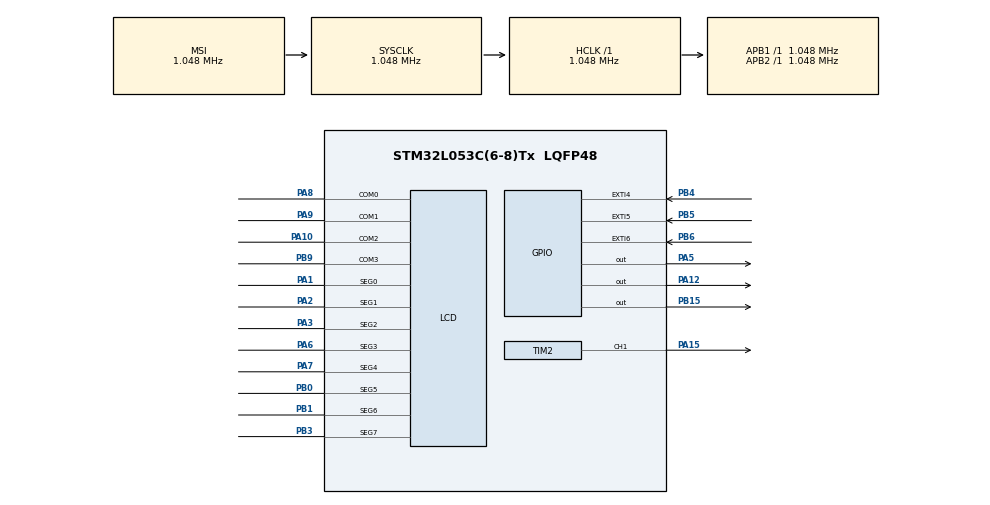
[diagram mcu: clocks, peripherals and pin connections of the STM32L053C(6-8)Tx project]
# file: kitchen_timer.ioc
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LCD.Contrast=LCD_CONTRASTLEVEL_7
LCD.DeadTime=LCD_DEADTIME_1
LCD.Divider=LCD_DIVIDER_16
LCD.HighDrive=LCD_HIGHDRIVE_1
LCD.Prescaler=LCD_PRESCALER_4
LCD.PulseOnDuration=LCD_PULSEONDURATION_1
LCD.VoltageSource=LCD_VOLTAGESOURCE_INTERNAL
Mcu.Family=STM32L0
Mcu.Name=STM32L053C(6-8)Tx
Mcu.Package=LQFP48
NVIC.EXTI4_15_IRQn=true\:0\:0\:false\:false\:true
NVIC.RTC_IRQn=true\:0\:0\:false\:false\:true
PA0.Mode=SYS_WakeUp0
PA0.Signal=SYS_WKUP1
PA1.Mode=SEG0
PA1.Signal=LCD_SEG0
PA10.Mode=1/4 Duty Cycle
PA10.Signal=LCD_COM2
PA12.Signal=GPIO_Output
PA13.Mode=Serial_Wire
PA13.Signal=SYS_SWDIO
PA14.Mode=Serial_Wire
PA14.Signal=SYS_SWCLK
PA15.Signal=S_TIM2_CH1
PA2.Mode=SEG1
PA2.Signal=LCD_SEG1
PA3.Mode=SEG2
PA3.Signal=LCD_SEG2
PA5.Signal=GPIO_Output
PA6.Mode=SEG3
PA6.Signal=LCD_SEG3
PA7.Mode=SEG4
PA7.Signal=LCD_SEG4
PA8.Mode=1/4 Duty Cycle
PA8.Signal=LCD_COM0
PA9.Mode=1/4 Duty Cycle
PA9.Signal=LCD_COM1
PB0.Mode=SEG5
PB0.Signal=LCD_SEG5
PB1.Mode=SEG6
PB1.Signal=LCD_SEG6
PB15.Signal=GPIO_Output
PB3.Mode=SEG7
PB3.Signal=LCD_SEG7
PB4.GPIO_PuPd=GPIO_PULLDOWN
PB4.Signal=GPXTI4
PB5.GPIO_PuPd=GPIO_PULLDOWN
PB5.Signal=GPXTI5
PB6.GPIO_PuPd=GPIO_PULLDOWN
PB6.Signal=GPXTI6
PB9.Mode=1/4 Duty Cycle
PB9.Signal=LCD_COM3
PC13.Mode=SYS_WakeUp1
PC13.Signal=SYS_WKUP2
PC14-OSC32_IN.Mode=LSE-External-Oscillator
PC14-OSC32_IN.Signal=RCC_OSC32_IN
PC15-OSC32_OUT.Mode=LSE-External-Oscillator
PC15-OSC32_OUT.Signal=RCC_OSC32_OUT
ProjectManager.HeapSize=0x200
ProjectManager.StackSize=0x400
ProjectManager.TargetToolchain=SW4STM32
RCC.AHBFreq_Value=1048000
RCC.APB1Freq_Value=1048000
RCC.APB1TimFreq_Value=1048000
RCC.APB2Freq_Value=1048000
RCC.APB2TimFreq_Value=1048000
RCC.EnableCSSLSE=true
RCC.HCLKFreq_Value=1048000
RCC.HSE_VALUE=8000000
RCC.HSI16_VALUE=16000000
RCC.HSI48_VALUE=48000000
RCC.HSI_VALUE=16000000
RCC.MSIClockRange=RCC_MSIRANGE_4
RCC.MSI_VALUE=1048000
RCC.RTCClockSelection=RCC_RTCCLKSOURCE_LSE
RCC.RTCClockSelectionVirtual=RCC_RTCCLKSOURCE_LSE
RCC.SYSCLKFreq_VALUE=1048000
RCC.VCOOutputFreq_Value=48000000
RCC.VDD_VALUE=3.3
RTC.AsynchPrediv=127
RTC.SynchPrediv=255
RTC.WakeUpClock-WakeUp=RTC_WAKEUPCLOCK_CK_SPRE_16BITS
SH.S_TIM2_CH1.0=TIM2_CH1,PWM Generation1 CH1
TIM2.Period=255
TIM2.Prescaler=1
TIM2.Pulse-PWM\ Generation1\ CH1=127
VP_RTC_VS_RTC_Activate.Mode=RTC_Enabled
VP_RTC_VS_RTC_Calendar.Mode=RTC_Calendar
VP_RTC_VS_RTC_WakeUp_intern.Mode=WakeUp
VP_TIM2_VS_ClockSourceINT.Mode=Internal
board=kitchen_timer

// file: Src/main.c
/**
  ******************************************************************************
  * File Name          : main.c
  * Description        : Main program body
  ******************************************************************************
  *
  * COPYRIGHT(c) 2017 STMicroelectronics
  *
  * Redistribution and use in source and binary forms, with or without modification,
  * are permitted provided that the following conditions are met:
  *   1. Redistributions of source code must retain the above copyright notice,
  *      this list of conditions and the following disclaimer.
  *   2. Redistributions in binary form must reproduce the above copyright notice,
  *      this list of conditions and the following disclaimer in the documentation
  *      and/or other materials provided with the distribution.
  *   3. Neither the name of STMicroelectronics nor the names of its contributors
  *      may be used to endorse or promote products derived from this software
  *      without specific prior written permission.
  *
  * THIS SOFTWARE IS PROVIDED BY THE COPYRIGHT HOLDERS AND CONTRIBUTORS "AS IS"
  * AND ANY EXPRESS OR IMPLIED WARRANTIES, INCLUDING, BUT NOT LIMITED TO, THE
  * IMPLIED WARRANTIES OF MERCHANTABILITY AND FITNESS FOR A PARTICULAR PURPOSE ARE
  * DISCLAIMED. IN NO EVENT SHALL THE COPYRIGHT HOLDER OR CONTRIBUTORS BE LIABLE
  * FOR ANY DIRECT, INDIRECT, INCIDENTAL, SPECIAL, EXEMPLARY, OR CONSEQUENTIAL
  * DAMAGES (INCLUDING, BUT NOT LIMITED TO, PROCUREMENT OF SUBSTITUTE GOODS OR
  * SERVICES; LOSS OF USE, DATA, OR PROFITS; OR BUSINESS INTERRUPTION) HOWEVER
  * CAUSED AND ON ANY THEORY OF LIABILITY, WHETHER IN CONTRACT, STRICT LIABILITY,
  * OR TORT (INCLUDING NEGLIGENCE OR OTHERWISE) ARISING IN ANY WAY OUT OF THE USE
  * OF THIS SOFTWARE, EVEN IF ADVISED OF THE POSSIBILITY OF SUCH DAMAGE.
  *
  ******************************************************************************
  */
#include "main.h"
#include "stm32l0xx_hal.h"
#include "lcd.h"
#include "rtc.h"
#include "tim.h"
#include "gpio.h"

/* USER CODE BEGIN Includes */

#include "lcd_dl1178.h"

/* USER CODE END Includes */

/* USER CODE BEGIN PV */
/* Private variables ---------------------------------------------------------*/

/* USER CODE END PV */

void SystemClock_Config(void);
void Error_Handler(void);

/* USER CODE BEGIN PFP */
/* Private function prototypes -----------------------------------------------*/

/* USER CODE END PFP */

/* USER CODE BEGIN 0 */

volatile uint8_t state = 0;
volatile uint8_t minutes = 0;
volatile uint8_t seconds = 0;
volatile uint8_t ampm = 1;
volatile uint8_t update_display = 1;

/* USER CODE END 0 */

int main(void)
{

  /* MCU Configuration----------------------------------------------------------*/

  /* Reset of all peripherals, Initializes the Flash interface and the Systick. */
  HAL_Init();

  /* Configure the system clock */
  SystemClock_Config();

  /* Initialize all configured peripherals */
  MX_GPIO_Init();
  MX_LCD_Init();
  MX_RTC_Init();
  MX_TIM2_Init();

  /* USER CODE BEGIN 2 */

  /* Enable Ultra low power mode */
    HAL_PWREx_EnableUltraLowPower();

  /* Stop the RTC clock initially */
  HAL_RTC_MspDeInit(&hrtc);
  LCD_display(&hlcd, minutes, seconds, ampm);

  //HAL_GPIO_WritePin(GPIOA, GPIO_PIN_5, GPIO_PIN_SET);

  /* PB11 buzzing */
  HAL_TIM_PWM_Start(&htim2, TIM_CHANNEL_4);

  /* USER CODE END 2 */

  /* Infinite loop */
    while (1) {

  /* USER CODE BEGIN 3 */

        if (update_display == 1) {
            update_display = 0;
            // Update the screen
            LCD_display(&hlcd, minutes, seconds, ampm);
        }

        /* Enter Stop Mode */
        //HAL_PWR_EnterSTOPMode(PWR_LOWPOWERREGULATOR_ON, PWR_STOPENTRY_WFI);

    }
  /* USER CODE END 3 */

}

/** System Clock Configuration
*/
void SystemClock_Config(void)
{

  RCC_OscInitTypeDef RCC_OscInitStruct;
  RCC_ClkInitTypeDef RCC_ClkInitStruct;
  RCC_PeriphCLKInitTypeDef PeriphClkInit;

    /**Configure the main internal regulator output voltage
    */
  __HAL_PWR_VOLTAGESCALING_CONFIG(PWR_REGULATOR_VOLTAGE_SCALE1);

    /**Initializes the CPU, AHB and APB busses clocks
    */
  RCC_OscInitStruct.OscillatorType = RCC_OSCILLATORTYPE_LSE|RCC_OSCILLATORTYPE_MSI;
  RCC_OscInitStruct.LSEState = RCC_LSE_ON;
  RCC_OscInitStruct.MSIState = RCC_MSI_ON;
  RCC_OscInitStruct.MSICalibrationValue = 0;
  RCC_OscInitStruct.MSIClockRange = RCC_MSIRANGE_4;
  RCC_OscInitStruct.PLL.PLLState = RCC_PLL_NONE;
  if (HAL_RCC_OscConfig(&RCC_OscInitStruct) != HAL_OK)
  {
    Error_Handler();
  }

    /**Initializes the CPU, AHB and APB busses clocks
    */
  RCC_ClkInitStruct.ClockType = RCC_CLOCKTYPE_HCLK|RCC_CLOCKTYPE_SYSCLK
                              |RCC_CLOCKTYPE_PCLK1|RCC_CLOCKTYPE_PCLK2;
  RCC_ClkInitStruct.SYSCLKSource = RCC_SYSCLKSOURCE_MSI;
  RCC_ClkInitStruct.AHBCLKDivider = RCC_SYSCLK_DIV1;
  RCC_ClkInitStruct.APB1CLKDivider = RCC_HCLK_DIV1;
  RCC_ClkInitStruct.APB2CLKDivider = RCC_HCLK_DIV1;

  if (HAL_RCC_ClockConfig(&RCC_ClkInitStruct, FLASH_LATENCY_0) != HAL_OK)
  {
    Error_Handler();
  }

  PeriphClkInit.PeriphClockSelection = RCC_PERIPHCLK_RTC;
  PeriphClkInit.RTCClockSelection = RCC_RTCCLKSOURCE_LSE;
  if (HAL_RCCEx_PeriphCLKConfig(&PeriphClkInit) != HAL_OK)
  {
    Error_Handler();
  }

    /**Enables the Clock Security System
    */
  HAL_RCCEx_EnableLSECSS();

    /**Configure LSE Drive Capability
    */
  __HAL_RCC_LSEDRIVE_CONFIG(RCC_LSEDRIVE_LOW);

    /**Configure the Systick interrupt time
    */
  HAL_SYSTICK_Config(HAL_RCC_GetHCLKFreq()/1000);

    /**Configure the Systick
    */
  HAL_SYSTICK_CLKSourceConfig(SYSTICK_CLKSOURCE_HCLK);

  /* SysTick_IRQn interrupt configuration */
  HAL_NVIC_SetPriority(SysTick_IRQn, 0, 0);
}

/* USER CODE BEGIN 4 */

/**
 * Callback for HAL_GPIO_EXTI_IRQHandler() in EXTI4_15_IRQHandler().
 *
 * Handles the interrupts which occur on button press.
 */
void HAL_GPIO_EXTI_Callback(uint16_t GPIO_Pin) {
    if (GPIO_Pin == GPIO_PIN_4) {
        minutes = 0;
        update_display = 1;
    }
    else if (GPIO_Pin == GPIO_PIN_5) {
        seconds = 0;
        update_display = 1;
    }
    else if (GPIO_Pin == GPIO_PIN_6) {
        if (state == 0x0) {
            // Stopped so start.
            state = 0x1;
            HAL_RTC_MspInit(&hrtc);
            ampm = 0;
        }
        else {
            // Running so stop
            state = 0x0;
            HAL_RTC_MspDeInit(&hrtc);
            ampm = 1;
        }
        update_display = 1;
    }
}

/**
 * Callback for RTC_IRQHandler()
 */
void HAL_RTCEx_WakeUpTimerEventCallback(RTC_HandleTypeDef *hrtc)
{
    /* Toggle LED */
    //HAL_GPIO_TogglePin(GPIOA, GPIO_PIN_5);

    seconds++;
    if (seconds > 59) {
        seconds = 0;
        minutes++;
        if (minutes > 99) {
            minutes = 0;
            seconds = 0;
        }
    }
    update_display = 1;
}

/* USER CODE END 4 */

void Error_Handler(void)
{
  /* USER CODE BEGIN Error_Handler */
    HAL_GPIO_WritePin(GPIOA, GPIO_PIN_5, GPIO_PIN_SET);
    /* User can add his own implementation to report the HAL error return state */
    while (1) {
    }
  /* USER CODE END Error_Handler */
}

/************************ (C) COPYRIGHT STMicroelectronics *****END OF FILE****/
